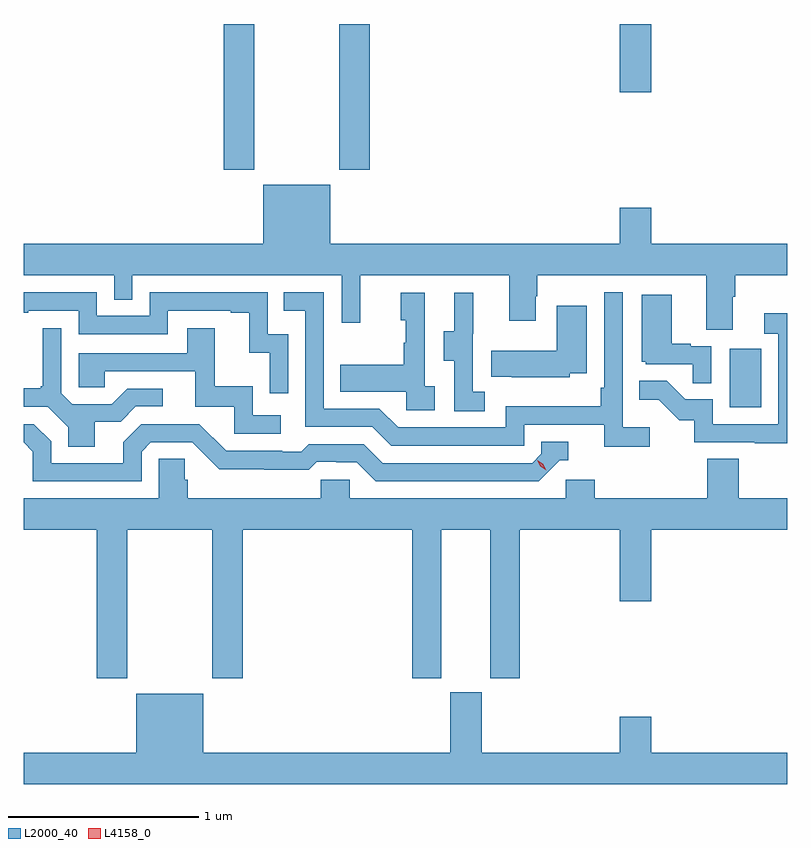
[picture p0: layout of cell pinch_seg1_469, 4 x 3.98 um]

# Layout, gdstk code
import gdstk
lib = gdstk.Library(unit=1e-6, precision=1e-09)
def R(c, l, rs):  # rectangles x0, y0, x1, y1
    for r in rs: c.add(gdstk.rectangle(r[:2], r[2:], *l))
def P(c, l, *ps):  # polygons
    for p in ps: c.add(gdstk.Polygon(p, *l))
L2000_40 = (2000, 40)
L4158_0 = (4158, 0)

pinch_seg1_469 = lib.new_cell('pinch_seg1_469')
R(pinch_seg1_469, L2000_40, [(1088.66,533.724,1088.824,534.031), (1086.011,534.969,1086.171,535.732), (1086.616,534.969,1086.776,535.732), (1088.084,535.374,1088.248,535.732)])
P(pinch_seg1_469, L2000_40, [(1088.084,534.769),(1088.084,534.58),(1086.568,534.58),(1086.568,534.889),(1086.218,534.889),(1086.218,534.58),(1084.962,534.58),(1084.962,534.416),(1085.436,534.416),(1085.436,534.289),(1085.532,534.289),(1085.532,534.416),(1086.627,534.416),(1086.627,534.168),(1086.725,534.168),(1086.725,534.416),(1087.505,534.416),(1087.505,534.177),(1087.645,534.177),(1087.645,534.305),(1087.653,534.305),(1087.653,534.416),(1088.537,534.416),(1088.537,534.13),(1088.677,534.13),(1088.677,534.304),(1088.69,534.304),(1088.69,534.416),(1088.962,534.416),(1088.962,534.58),(1088.248,534.58),(1088.248,534.769)],
  [(1088.242,533.62),(1088.1,533.62),(1088.1,534.328),(1088.004,534.328),(1088.004,533.827),(1087.984,533.827),(1087.984,533.731),(1087.488,533.731),(1087.488,533.619),(1086.924,533.619),(1086.825,533.718),(1086.534,533.718),(1086.534,534.327),(1086.325,534.327),(1086.325,534.231),(1086.438,534.231),(1086.438,533.622),(1086.788,533.622),(1086.887,533.523),(1087.584,533.523),(1087.584,533.634),(1088.003,533.634),(1088.003,533.518),(1088.242,533.518)],
  [(1086.348,534.108),(1086.24,534.108),(1086.24,534.327),(1085.622,534.327),(1085.622,534.204),(1085.346,534.204),(1085.346,534.327),(1084.962,534.327),(1084.962,534.219),(1084.987,534.219),(1084.987,534.231),(1085.25,534.231),(1085.25,534.108),(1085.718,534.108),(1085.718,534.231),(1086.047,534.231),(1086.047,534.219),(1086.143,534.219),(1086.143,534.011),(1086.252,534.011),(1086.252,533.799),(1086.348,533.799)],
  [(1087.114,533.834),(1087.062,533.834),(1087.062,534.325),(1086.938,534.325),(1086.938,534.18),(1086.964,534.18),(1086.964,534.062),(1086.954,534.062),(1086.954,533.947),(1086.619,533.947),(1086.619,533.807),(1086.966,533.807),(1086.966,533.709),(1087.114,533.709)],
  [(1087.378,533.807),(1087.314,533.807),(1087.314,534.111),(1087.316,534.111),(1087.316,534.325),(1087.217,534.325),(1087.217,534.123),(1087.163,534.123),(1087.163,533.968),(1087.218,533.968),(1087.218,533.704),(1087.378,533.704)],
  [(1088.562,534.045),(1088.456,534.045),(1088.456,534.058),(1088.356,534.058),(1088.356,534.313),(1088.198,534.313),(1088.198,533.964),(1088.22,533.964),(1088.22,533.949),(1088.467,533.949),(1088.467,533.851),(1088.562,533.851)],
  [(1087.821,533.903),(1087.912,533.903),(1087.912,534.256),(1087.754,534.256),(1087.754,534.022),(1087.411,534.022),(1087.411,533.885),(1087.519,533.885),(1087.519,533.882),(1087.821,533.882)],
  [(1088.962,534.217),(1088.841,534.217),(1088.841,534.111),(1088.913,534.111),(1088.913,533.637),(1088.571,533.637),(1088.571,533.766),(1088.427,533.766),(1088.329,533.864),(1088.185,533.864),(1088.185,533.765),(1088.289,533.765),(1088.396,533.658),(1088.473,533.658),(1088.473,533.541),(1088.791,533.541),(1088.791,533.536),(1088.962,533.536)],
  [(1085.335,533.65),(1085.47,533.65),(1085.55,533.73),(1085.692,533.73),(1085.692,533.823),(1085.504,533.823),(1085.423,533.742),(1085.217,533.742),(1085.16,533.799),(1085.16,534.139),(1085.063,534.139),(1085.063,533.836),(1085.052,533.836),(1085.052,533.824),(1084.962,533.824),(1084.962,533.727),(1085.088,533.727),(1085.195,533.62),(1085.195,533.518),(1085.335,533.518)],
  [(1086.31,533.682),(1086.162,533.682),(1086.162,533.836),(1085.963,533.836),(1085.963,534.139),(1085.819,534.139),(1085.819,534.009),(1085.25,534.009),(1085.25,533.829),(1085.387,533.829),(1085.387,533.913),(1085.861,533.913),(1085.861,533.727),(1086.066,533.727),(1086.066,533.586),(1086.31,533.586)],
  [(1085.58,533.493),(1085.628,533.541),(1085.844,533.541),(1085.986,533.399),(1086.222,533.399),(1086.222,533.397),(1086.455,533.397),(1086.497,533.439),(1086.6,533.439),(1086.6,533.436),(1086.707,533.436),(1086.806,533.337),(1087.659,533.337),(1087.77,533.448),(1087.813,533.448),(1087.813,533.544),(1087.674,533.544),(1087.674,533.481),(1087.626,533.433),(1086.843,533.433),(1086.744,533.532),(1086.455,533.532),(1086.416,533.493),(1086.317,533.493),(1086.317,533.496),(1086.024,533.496),(1085.883,533.637),(1085.577,533.637),(1085.483,533.543),(1085.483,533.433),(1085.106,533.433),(1085.106,533.547),(1085.016,533.637),(1084.962,533.637),(1084.962,533.541),(1085.01,533.493),(1085.01,533.337),(1085.58,533.337)],
  [(1085.505,533.084),(1085.95,533.084),(1085.95,532.305),(1086.11,532.305),(1086.11,533.084),(1086.998,533.084),(1086.998,532.305),(1087.15,532.305),(1087.15,533.084),(1087.406,533.084),(1087.406,532.305),(1087.559,532.305),(1087.559,533.084),(1088.084,533.084),(1088.084,532.71),(1088.248,532.71),(1088.248,533.084),(1088.962,533.084),(1088.962,533.248),(1088.708,533.248),(1088.708,533.456),(1088.543,533.456),(1088.543,533.248),(1087.952,533.248),(1087.952,533.346),(1087.8,533.346),(1087.8,533.248),(1086.669,533.248),(1086.669,533.346),(1086.519,533.346),(1086.519,533.248),(1085.822,533.248),(1085.822,533.346),(1085.807,533.346),(1085.807,533.456),(1085.67,533.456),(1085.67,533.248),(1084.962,533.248),(1084.962,533.084),(1085.345,533.084),(1085.345,532.305),(1085.505,532.305)],
  [(1088.962,531.916),(1088.248,531.916),(1088.248,532.105),(1088.084,532.105),(1088.084,531.916),(1087.36,531.916),(1087.36,532.233),(1087.196,532.233),(1087.196,531.916),(1085.902,531.916),(1085.902,532.225),(1085.552,532.225),(1085.552,531.916),(1084.962,531.916),(1084.962,531.752),(1088.962,531.752)])
P(pinch_seg1_469, L4158_0, [(1087.698,533.395),(1087.667,533.415),(1087.651,533.448),(1087.651,533.448),(1087.651,533.448),(1087.682,533.429),(1087.698,533.396),(1087.698,533.395)])

lib.write_gds('pinch_seg1_469.gds')
